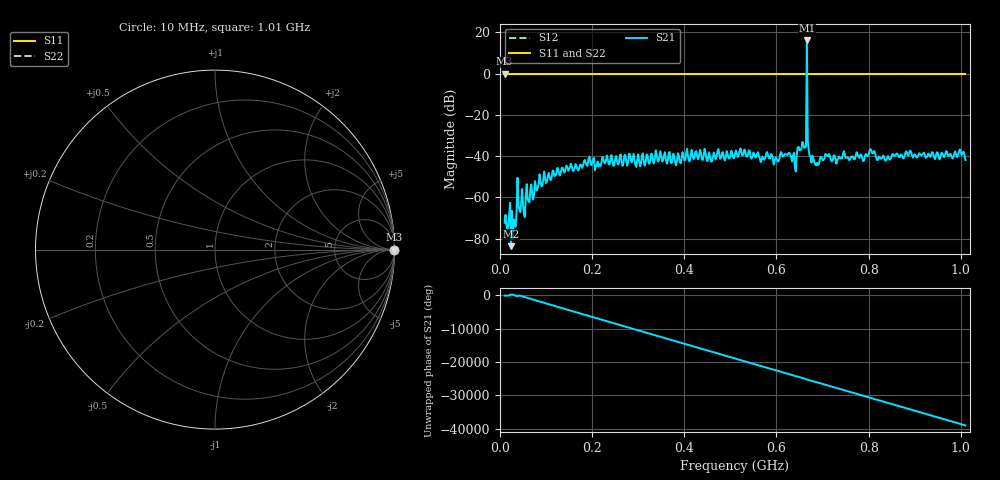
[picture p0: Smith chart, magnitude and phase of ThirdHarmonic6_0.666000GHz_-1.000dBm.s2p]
! 8/15/2025 10:09:49 PM
! C:\ANRITSUVNA\TEMP\TEMP.S2P
! CHANNEL.1
! TR.MEASUREMENT
! RAW.DATA
! RF.CORRECTION.OFF
! AVERAGING.OFF
! IF.BANDWIDTH: 5KHZ
! SWEEPTYPE:  FREQ.SWEEP(Linear)
! Reference Plane Port Info
! PORT:  PORT1  PORT2
! DISTANCE:  0  m  0  m
! TIME:  0  s  0  s
! PHASE.OFFSET:  0  deg.  0  deg.
! LOSS:  0  dB  0  dB
! REF.LOSS:  0  dB  0  dB
! REF.FREQ:  0  Hz  0  Hz
! Power Info
! POWER:  -20  dBm  -20  dBm
! EFF.POWER:  -20  dBm  -20  dBm
! SOURCE.ATTEN:  0  dB  0  dB
! TEST.ATTEN:  0  dB  0  dB
# GHZ S RI R 50.0
! FREQ.GHZ  S11RE  S11IM  S21RE  S21IM  S12RE  S12IM  S22RE  S22IM
!; PortSelection: Port_12
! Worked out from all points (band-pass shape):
!   501 points, 10 MHz to 1.01 GHz, reference 50 ohm
!   highest |S21| = 16.06 dB at 666 MHz (marker M1); lowest = -83.7 dB at 24 MHz (marker M2)
!   |S21| within 3 dB of the highest: 665.8837 MHz to 666.1233 MHz (239.6 kHz wide, 0.036 % of centre)
!   lowest |S11| = 0.0 dB at 10 MHz (marker M3)
!   |S11| at or under -10 dB: nowhere
!   |S22| runs from 0.0 to 0.0 dB; largest |S21 - S12| = 5.7
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0.01  1 0  0.000156 -0.000186  1 0  1 0
0.024  1 0  -2.32e-05 -6.12e-05  1 0  1 0
0.032  1 0  0.000139 -0.000176  1 0  1 0
0.034  1 0  -0.000138 -0.000137  1 0  1 0
0.042  1 0  0.000474 -0.000223  1 0  1 0
0.05  1 0  0.000532 -0.000403  1 0  1 0
0.086  1 0  0.00259 -0.00254  1 0  1 0
0.178  1 0  -0.00518 -1.45e-05  1 0  1 0
0.344  1 0  0.00641 -0.00368  1 0  1 0
0.51  1 0  -0.00908 0.00648  1 0  1 0
0.598  1 0  -0.00856 -0.00347  1 0  1 0
0.626  1 0  -0.0109 0.00423  1 0  1 0
0.638  1 0  0.00988 0.00684  1 0  1 0
0.66  1 0  -0.0145 -0.00637  1 0  1 0
0.662  1 0  -0.0101 0.0125  1 0  1 0
0.666  1 0  4.278 -4.7  1 0  1 0
0.67  1 0  -0.0068 0.0117  1 0  1 0
0.672  1 0  0.00659 0.00783  1 0  1 0
0.678  1 0  -0.0103 0.000324  1 0  1 0
0.806  1 0  -0.00193 0.0134  1 0  1 0
0.844  1 0  0.00873 0.00245  1 0  1 0
1.01  1 0  -0.00794 0.00107  1 0  1 0
